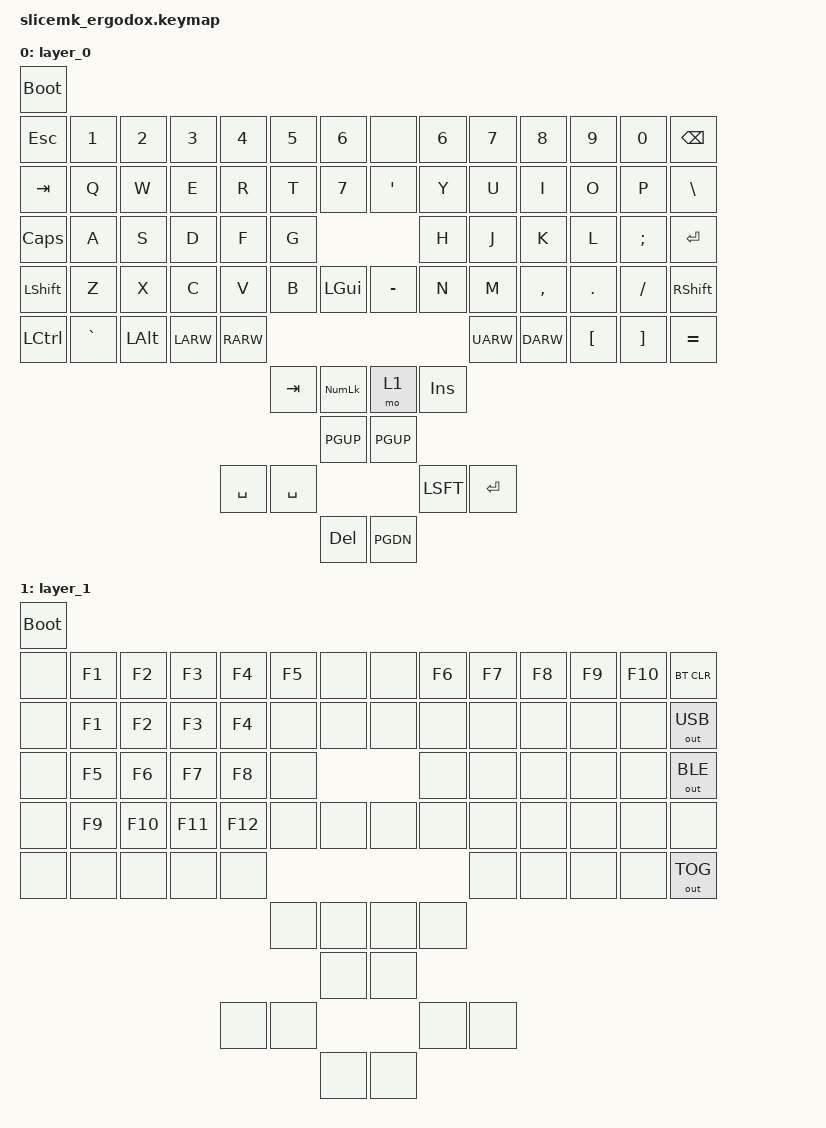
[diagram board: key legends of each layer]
#include <behaviors.dtsi>
#include <dt-bindings/zmk/bt.h>
#include <dt-bindings/zmk/keys.h>
#include <dt-bindings/zmk/outputs.h>

/ {
        keymap {
                compatible = "zmk,keymap";

                layer_0 {
                        bindings = <
    &bootloader
    &kp ESC         &kp NUM_1  &kp NUM_2  &kp NUM_3  &kp NUM_4  &kp NUM_5  &kp NUM_6       &none        &kp NUM_6  &kp NUM_7  &kp NUM_8  &kp NUM_9  &kp NUM_0  &kp BACKSPACE
    &kp TAB         &kp Q      &kp W      &kp E      &kp R      &kp T      &kp NUM_7       &kp APOS     &kp Y      &kp U      &kp I      &kp O      &kp P      &kp BSLH
    &kp CAPS        &kp A      &kp S      &kp D      &kp F      &kp G                                   &kp H      &kp J      &kp K      &kp L      &kp SCLN   &kp RET
    &kp LEFT_SHIFT  &kp Z      &kp X      &kp C      &kp V      &kp B      &kp LEFT_GUI    &kp MINUS    &kp N      &kp M      &kp CMMA   &kp DOT    &kp FSLH   &kp RSHFT
    &kp LCTRL       &kp GRAV   &kp LALT   &kp LARW   &kp RARW                                                      &kp UARW   &kp DARW   &kp LBKT   &kp RBKT   &kp EQUAL
                                                                &kp TAB    &kp KP_NUMLOCK  &mo 1        &kp INS
                                                                           &kp PGUP        &kp PGUP
                                                     &kp SPC    &kp SPC                                 &kp LSFT   &kp RET
                                                                           &kp DEL         &kp PGDN
                        >;
                };

                layer_1 {
                        bindings = <
    &bootloader
    &none      &kp F1     &kp F2     &kp F3     &kp F4     &kp F5     &none      &none      &kp F6     &kp F7     &kp F8     &kp F9     &kp F10    &bt BT_CLR
    &none      &kp F1     &kp F2     &kp F3     &kp F4     &none      &none      &none      &none      &none      &none      &none      &none      &out OUT_USB
    &none      &kp F5     &kp F6     &kp F7     &kp F8     &none                            &none      &none      &none      &none      &none      &out OUT_BLE
    &none      &kp F9     &kp F10    &kp F11    &kp F12    &none      &none      &none      &none      &none      &none      &none      &none      &none
    &none      &none      &none      &none      &none                                                  &none      &none      &none      &none      &out OUT_TOG
                                                           &none      &none      &none      &none
                                                                      &none      &none
                                                &none      &none                            &none      &none
                                                                      &none      &none
                        >;
                };
        };
};
